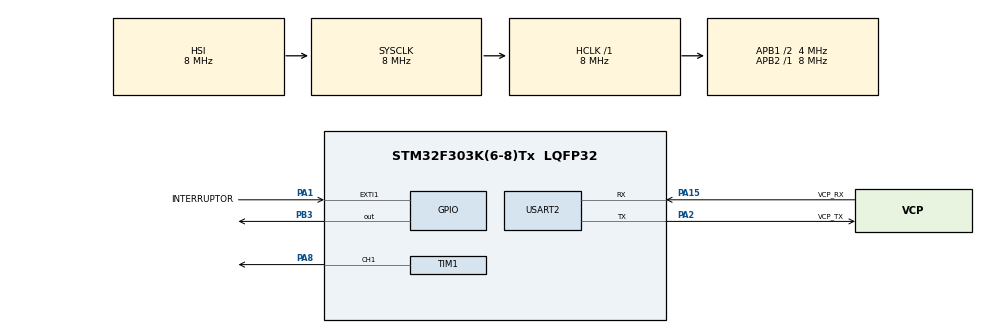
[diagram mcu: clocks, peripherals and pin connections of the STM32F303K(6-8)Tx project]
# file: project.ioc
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Dma.Request0=TIM1_CH1
Dma.TIM1_CH1.0.Direction=DMA_PERIPH_TO_MEMORY
Dma.TIM1_CH1.0.Instance=DMA1_Channel2
Dma.TIM1_CH1.0.MemDataAlignment=DMA_MDATAALIGN_HALFWORD
Dma.TIM1_CH1.0.MemInc=DMA_MINC_ENABLE
Dma.TIM1_CH1.0.Mode=DMA_NORMAL
Dma.TIM1_CH1.0.PeriphDataAlignment=DMA_PDATAALIGN_HALFWORD
Dma.TIM1_CH1.0.PeriphInc=DMA_PINC_DISABLE
Dma.TIM1_CH1.0.Priority=DMA_PRIORITY_LOW
Mcu.Family=STM32F3
Mcu.Name=STM32F303K(6-8)Tx
Mcu.Package=LQFP32
NVIC.DMA1_Channel2_IRQn=true\:0\:0\:false\:false\:true\:false\:true\:true
NVIC.EXTI1_IRQn=true\:0\:0\:false\:false\:true\:true\:true\:true
NVIC.PriorityGroup=NVIC_PRIORITYGROUP_4
NVIC.USART2_IRQn=true\:0\:0\:false\:false\:true\:true\:true\:true
PA1.GPIO_Label=INTERRUPTOR
PA1.GPIO_ModeDefaultEXTI=GPIO_MODE_IT_FALLING
PA1.GPIO_PuPd=GPIO_PULLUP
PA1.Signal=GPXTI1
PA13.GPIO_Label=SWDIO
PA13.Mode=Serial_Wire
PA13.Signal=SYS_JTMS-SWDIO
PA14.GPIO_Label=SWCLK
PA14.Mode=Serial_Wire
PA14.Signal=SYS_JTCK-SWCLK
PA15.GPIO_Label=VCP_RX
PA15.Mode=Asynchronous
PA15.Signal=USART2_RX
PA2.GPIO_Label=VCP_TX
PA2.Mode=Asynchronous
PA2.Signal=USART2_TX
PA8.Signal=S_TIM1_CH1
PB3.Signal=GPIO_Output
PF0\ /\ OSC_IN.GPIO_Label=MCO
PF0\ /\ OSC_IN.Mode=HSE-External-Oscillator
PF0\ /\ OSC_IN.Signal=RCC_OSC_IN
PF1\ /\ OSC_OUT.Mode=HSE-External-Oscillator
PF1\ /\ OSC_OUT.Signal=RCC_OSC_OUT
ProjectManager.HeapSize=0x200
ProjectManager.StackSize=0x400
ProjectManager.TargetToolchain=STM32CubeIDE
RCC.AHBFreq_Value=8000000
RCC.APB1CLKDivider=RCC_HCLK_DIV2
RCC.APB1Freq_Value=4000000
RCC.APB1TimFreq_Value=8000000
RCC.APB2Freq_Value=8000000
RCC.APB2TimFreq_Value=8000000
RCC.CortexFreq_Value=8000000
RCC.HCLKFreq_Value=8000000
RCC.HSE_VALUE=8000000
RCC.HSI_VALUE=8000000
RCC.PLLMUL=RCC_PLL_MUL9
RCC.PLLSourceVirtual=RCC_PLLSOURCE_HSE
RCC.SYSCLKFreq_VALUE=8000000
SH.S_TIM1_CH1.0=TIM1_CH1,PWM Generation1 CH1
TIM1.Channel-PWM\ Generation1\ CH1=TIM_CHANNEL_1
TIM1.Period=100-1
TIM1.Prescaler=181-1
TIM1.Pulse-PWM\ Generation1\ CH1=50
USART2.VirtualMode-Asynchronous=VM_ASYNC
VP_TIM1_VS_ClockSourceINT.Mode=Internal
board=NUCLEO-F303K8

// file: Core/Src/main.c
/* USER CODE BEGIN Header */
/**
  ******************************************************************************
  * @file           : main.c
  * @brief          : Main program body
  ******************************************************************************
  * @attention
  *
  * Copyright (c) 2024 STMicroelectronics.
  * All rights reserved.
  *
  * This software is licensed under terms that can be found in the LICENSE file
  * in the root directory of this software component.
  * If no LICENSE file comes with this software, it is provided AS-IS.
  *
  ******************************************************************************
  */
/* USER CODE END Header */
#include "main.h"
#include <string.h>

/* USER CODE BEGIN PD */
#define BUFFER_SIZE 4096
/* USER CODE END PD */

TIM_HandleTypeDef htim1;
DMA_HandleTypeDef hdma_tim1_ch1;

UART_HandleTypeDef huart2;

/* USER CODE BEGIN PV */
enum note {
	C4, Cs4, D4, Ds4, E4, F4, Fs4, G4, Gs4, A4, As4, B4,
	C5, Cs5, D5, Ds5, E5, F5, Fs5, G5, Gs5, A5, As, B5,
	C6, Cs6, D6, Ds6, E6, F6, Fs6, G6, Gs6, A6, As6, B6, END,
};

uint16_t note_to_freq[] = {
	261, 277, 293, 311, 329, 349, 369, 392, 415, 440, 466, 493,
	523, 554, 587, 622, 659, 698, 739, 784, 830, 880, 932, 987,
	1047, 1109, 1175, 1245, 1319, 1397, 1480, 1568, 1661, 1760, 1865, 1976,
};

extern uint8_t play;
extern uint32_t ticks;
uint8_t notes[] = {G5, G5, A5, G5, C6, B5, G5, G5, A6, G5, D5, C5, G5, G5, Gs5, E5, C5, D5, A5, F5, F5, E5, C5, D5, C5, END};
uint16_t note_num;
uint16_t period = 333;
/* USER CODE END PV */

void SystemClock_Config(void);
static void MX_GPIO_Init(void);
static void MX_DMA_Init(void);
static void MX_USART2_UART_Init(void);
static void MX_TIM1_Init(void);

/* USER CODE BEGIN 0 */
static inline uint16_t freq_to_ps(uint16_t freq) {
	return 8e4 / freq;
}
/* USER CODE END 0 */

int main(void)
{

  /* MCU Configuration--------------------------------------------------------*/

  /* Reset of all peripherals, Initializes the Flash interface and the Systick. */
  HAL_Init();

  /* Configure the system clock */
  SystemClock_Config();

  /* Initialize all configured peripherals */
  MX_GPIO_Init();
  MX_DMA_Init();
  MX_USART2_UART_Init();
  MX_TIM1_Init();
  /* USER CODE BEGIN 2 */

  /* Set pulse width to 50% */
  TIM1->CCR1 = 0;
  HAL_TIM_PWM_Start(&htim1, TIM_CHANNEL_1);

  HAL_UART_Receive_IT(&huart2, notes, sizeof(notes));

  note_num = 0;
  /* Cumpleaños Feliz */

//  HAL_UART_Receive_IT(&huart2, rx_buffer, BUFFER_SIZE);
  /* USER CODE END 2 */

  /* Infinite loop */
  while (1)
  {

    /* USER CODE BEGIN 3 */
	if (ticks >= period) {

		if (notes[note_num] == END)
			note_num = 0;

		__HAL_TIM_SET_PRESCALER(&htim1, freq_to_ps(note_to_freq[notes[note_num]]));
		__HAL_TIM_SET_COUNTER(&htim1, 0);

		note_num++;
		ticks = 0;
	}
  }
  /* USER CODE END 3 */
}

void SystemClock_Config(void)
{
  RCC_OscInitTypeDef RCC_OscInitStruct = {0};
  RCC_ClkInitTypeDef RCC_ClkInitStruct = {0};
  RCC_PeriphCLKInitTypeDef PeriphClkInit = {0};

  /** Initializes the RCC Oscillators according to the specified parameters
  * in the RCC_OscInitTypeDef structure.
  */
  RCC_OscInitStruct.OscillatorType = RCC_OSCILLATORTYPE_HSI;
  RCC_OscInitStruct.HSIState = RCC_HSI_ON;
  RCC_OscInitStruct.HSICalibrationValue = RCC_HSICALIBRATION_DEFAULT;
  RCC_OscInitStruct.PLL.PLLState = RCC_PLL_NONE;
  if (HAL_RCC_OscConfig(&RCC_OscInitStruct) != HAL_OK)
  {
    Error_Handler();
  }

  /** Initializes the CPU, AHB and APB buses clocks
  */
  RCC_ClkInitStruct.ClockType = RCC_CLOCKTYPE_HCLK|RCC_CLOCKTYPE_SYSCLK
                              |RCC_CLOCKTYPE_PCLK1|RCC_CLOCKTYPE_PCLK2;
  RCC_ClkInitStruct.SYSCLKSource = RCC_SYSCLKSOURCE_HSI;
  RCC_ClkInitStruct.AHBCLKDivider = RCC_SYSCLK_DIV1;
  RCC_ClkInitStruct.APB1CLKDivider = RCC_HCLK_DIV2;
  RCC_ClkInitStruct.APB2CLKDivider = RCC_HCLK_DIV1;

  if (HAL_RCC_ClockConfig(&RCC_ClkInitStruct, FLASH_LATENCY_0) != HAL_OK)
  {
    Error_Handler();
  }
  PeriphClkInit.PeriphClockSelection = RCC_PERIPHCLK_TIM1;
  PeriphClkInit.Tim1ClockSelection = RCC_TIM1CLK_HCLK;
  if (HAL_RCCEx_PeriphCLKConfig(&PeriphClkInit) != HAL_OK)
  {
    Error_Handler();
  }
}

static void MX_TIM1_Init(void)
{

  TIM_ClockConfigTypeDef sClockSourceConfig = {0};
  TIM_MasterConfigTypeDef sMasterConfig = {0};
  TIM_OC_InitTypeDef sConfigOC = {0};
  TIM_BreakDeadTimeConfigTypeDef sBreakDeadTimeConfig = {0};

  htim1.Instance = TIM1;
  htim1.Init.Prescaler = 181-1;
  htim1.Init.CounterMode = TIM_COUNTERMODE_UP;
  htim1.Init.Period = 100-1;
  htim1.Init.ClockDivision = TIM_CLOCKDIVISION_DIV1;
  htim1.Init.RepetitionCounter = 0;
  htim1.Init.AutoReloadPreload = TIM_AUTORELOAD_PRELOAD_DISABLE;
  if (HAL_TIM_Base_Init(&htim1) != HAL_OK)
  {
    Error_Handler();
  }
  sClockSourceConfig.ClockSource = TIM_CLOCKSOURCE_INTERNAL;
  if (HAL_TIM_ConfigClockSource(&htim1, &sClockSourceConfig) != HAL_OK)
  {
    Error_Handler();
  }
  if (HAL_TIM_PWM_Init(&htim1) != HAL_OK)
  {
    Error_Handler();
  }
  sMasterConfig.MasterOutputTrigger = TIM_TRGO_RESET;
  sMasterConfig.MasterOutputTrigger2 = TIM_TRGO2_RESET;
  sMasterConfig.MasterSlaveMode = TIM_MASTERSLAVEMODE_DISABLE;
  if (HAL_TIMEx_MasterConfigSynchronization(&htim1, &sMasterConfig) != HAL_OK)
  {
    Error_Handler();
  }
  sConfigOC.OCMode = TIM_OCMODE_PWM1;
  sConfigOC.Pulse = 50;
  sConfigOC.OCPolarity = TIM_OCPOLARITY_HIGH;
  sConfigOC.OCNPolarity = TIM_OCNPOLARITY_HIGH;
  sConfigOC.OCFastMode = TIM_OCFAST_DISABLE;
  sConfigOC.OCIdleState = TIM_OCIDLESTATE_RESET;
  sConfigOC.OCNIdleState = TIM_OCNIDLESTATE_RESET;
  if (HAL_TIM_PWM_ConfigChannel(&htim1, &sConfigOC, TIM_CHANNEL_1) != HAL_OK)
  {
    Error_Handler();
  }
  sBreakDeadTimeConfig.OffStateRunMode = TIM_OSSR_DISABLE;
  sBreakDeadTimeConfig.OffStateIDLEMode = TIM_OSSI_DISABLE;
  sBreakDeadTimeConfig.LockLevel = TIM_LOCKLEVEL_OFF;
  sBreakDeadTimeConfig.DeadTime = 0;
  sBreakDeadTimeConfig.BreakState = TIM_BREAK_DISABLE;
  sBreakDeadTimeConfig.BreakPolarity = TIM_BREAKPOLARITY_HIGH;
  sBreakDeadTimeConfig.BreakFilter = 0;
  sBreakDeadTimeConfig.Break2State = TIM_BREAK2_DISABLE;
  sBreakDeadTimeConfig.Break2Polarity = TIM_BREAK2POLARITY_HIGH;
  sBreakDeadTimeConfig.Break2Filter = 0;
  sBreakDeadTimeConfig.AutomaticOutput = TIM_AUTOMATICOUTPUT_DISABLE;
  if (HAL_TIMEx_ConfigBreakDeadTime(&htim1, &sBreakDeadTimeConfig) != HAL_OK)
  {
    Error_Handler();
  }
  HAL_TIM_MspPostInit(&htim1);

}

static void MX_USART2_UART_Init(void)
{

  huart2.Instance = USART2;
  huart2.Init.BaudRate = 38400;
  huart2.Init.WordLength = UART_WORDLENGTH_8B;
  huart2.Init.StopBits = UART_STOPBITS_1;
  huart2.Init.Parity = UART_PARITY_NONE;
  huart2.Init.Mode = UART_MODE_TX_RX;
  huart2.Init.HwFlowCtl = UART_HWCONTROL_NONE;
  huart2.Init.OverSampling = UART_OVERSAMPLING_16;
  huart2.Init.OneBitSampling = UART_ONE_BIT_SAMPLE_DISABLE;
  huart2.AdvancedInit.AdvFeatureInit = UART_ADVFEATURE_NO_INIT;
  if (HAL_UART_Init(&huart2) != HAL_OK)
  {
    Error_Handler();
  }

}

static void MX_DMA_Init(void)
{

  /* DMA controller clock enable */
  __HAL_RCC_DMA1_CLK_ENABLE();

  /* DMA interrupt init */
  /* DMA1_Channel2_IRQn interrupt configuration */
  HAL_NVIC_SetPriority(DMA1_Channel2_IRQn, 0, 0);
  HAL_NVIC_EnableIRQ(DMA1_Channel2_IRQn);

}

static void MX_GPIO_Init(void)
{
  GPIO_InitTypeDef GPIO_InitStruct = {0};

  /* GPIO Ports Clock Enable */
  __HAL_RCC_GPIOF_CLK_ENABLE();
  __HAL_RCC_GPIOA_CLK_ENABLE();
  __HAL_RCC_GPIOB_CLK_ENABLE();

  /*Configure GPIO pin Output Level */
  HAL_GPIO_WritePin(GPIOB, GPIO_PIN_3, GPIO_PIN_RESET);

  /*Configure GPIO pin : INTERRUPTOR_Pin */
  GPIO_InitStruct.Pin = INTERRUPTOR_Pin;
  GPIO_InitStruct.Mode = GPIO_MODE_IT_FALLING;
  GPIO_InitStruct.Pull = GPIO_PULLUP;
  HAL_GPIO_Init(INTERRUPTOR_GPIO_Port, &GPIO_InitStruct);

  /*Configure GPIO pin : PB3 */
  GPIO_InitStruct.Pin = GPIO_PIN_3;
  GPIO_InitStruct.Mode = GPIO_MODE_OUTPUT_PP;
  GPIO_InitStruct.Pull = GPIO_NOPULL;
  GPIO_InitStruct.Speed = GPIO_SPEED_FREQ_LOW;
  HAL_GPIO_Init(GPIOB, &GPIO_InitStruct);

  /* EXTI interrupt init*/
  HAL_NVIC_SetPriority(EXTI1_IRQn, 0, 0);
  HAL_NVIC_EnableIRQ(EXTI1_IRQn);

}

/* USER CODE BEGIN 4 */
void HAL_UART_RxCpltCallback(UART_HandleTypeDef *huart)
{
	if (huart->Instance == USART2) // Ensure the callback is for USART2
	{
	    // Re-enable UART receive interrupt
	    HAL_UART_Receive_IT(&huart2, notes, sizeof(notes));
	}
}
/* USER CODE END 4 */

void Error_Handler(void)
{
  __disable_irq();
  while (1)
  {
  }
}
